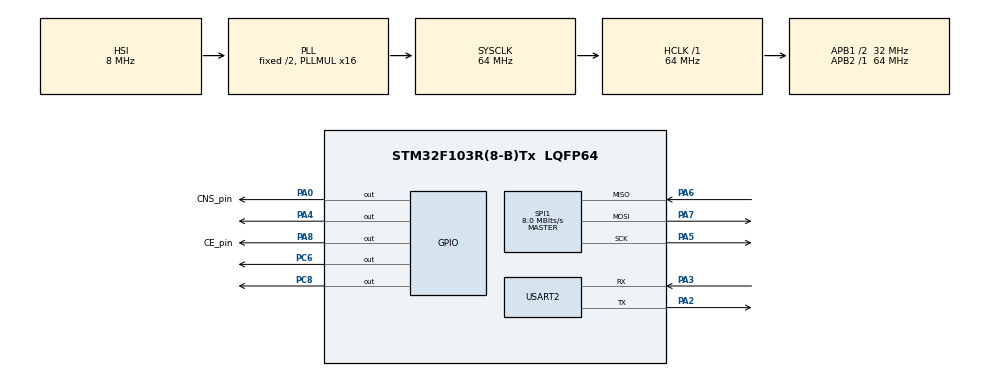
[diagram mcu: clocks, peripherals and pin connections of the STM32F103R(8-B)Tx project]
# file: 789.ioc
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Mcu.Family=STM32F1
Mcu.Name=STM32F103R(8-B)Tx
Mcu.Package=LQFP64
NVIC.PriorityGroup=NVIC_PRIORITYGROUP_4
PA0-WKUP.GPIO_Label=CNS_pin
PA0-WKUP.Signal=GPIO_Output
PA2.Mode=Asynchronous
PA2.Signal=USART2_TX
PA3.Mode=Asynchronous
PA3.Signal=USART2_RX
PA4.Signal=GPIO_Output
PA5.Mode=Full_Duplex_Master
PA5.Signal=SPI1_SCK
PA6.Mode=Full_Duplex_Master
PA6.Signal=SPI1_MISO
PA7.Mode=Full_Duplex_Master
PA7.Signal=SPI1_MOSI
PA8.GPIO_Label=CE_pin
PA8.Signal=GPIO_Output
PC6.Signal=GPIO_Output
PC8.Signal=GPIO_Output
ProjectManager.HeapSize=0x200
ProjectManager.StackSize=0x400
ProjectManager.TargetToolchain=STM32CubeIDE
RCC.AHBFreq_Value=64000000
RCC.APB1CLKDivider=RCC_HCLK_DIV2
RCC.APB1Freq_Value=32000000
RCC.APB1TimFreq_Value=64000000
RCC.APB2Freq_Value=64000000
RCC.APB2TimFreq_Value=64000000
RCC.HCLKFreq_Value=64000000
RCC.PLLMUL=RCC_PLL_MUL16
RCC.RTCClockSelection=RCC_RTCCLKSOURCE_LSE
RCC.SYSCLKFreq_VALUE=64000000
RCC.SYSCLKSource=RCC_SYSCLKSOURCE_PLLCLK
RCC.USBFreq_Value=64000000
SPI1.BaudRatePrescaler=SPI_BAUDRATEPRESCALER_8
SPI1.CalculateBaudRate=8.0 MBits/s
SPI1.Direction=SPI_DIRECTION_2LINES
SPI1.Mode=SPI_MODE_MASTER
SPI1.VirtualType=VM_MASTER
USART2.VirtualMode=VM_ASYNC
VP_SYS_VS_ND.Mode=No_Debug
board=NUCLEO-F103RB

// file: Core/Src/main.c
/* USER CODE BEGIN Header */
/**
  ******************************************************************************
  * @file           : main.c
  * @brief          : Main program body
  ******************************************************************************
  * @attention
  *
  * Copyright (c) 2025 STMicroelectronics.
  * All rights reserved.
  *
  * This software is licensed under terms that can be found in the LICENSE file
  * in the root directory of this software component.
  * If no LICENSE file comes with this software, it is provided AS-IS.
  *
  ******************************************************************************
  */
/* USER CODE END Header */
#include "main.h"
#include "spi.h"
#include "usart.h"
#include "gpio.h"

/* USER CODE BEGIN Includes */
#include "nrf24l01p.h"
#include "stdio.h"

/* USER CODE END Includes */

/* USER CODE BEGIN PV */
uint8_t tx_payload[] = "hello";
uint8_t addr[5] = {'R','x','A','A','A'};

/* USER CODE END PV */

void SystemClock_Config(void);

/* USER CODE BEGIN 0 */
// 송신 완료 비트 클리어 함수
void nrf24l01p_clear_tx_ds(void) {
    uint8_t reg = 0x70;  // STATUS 레지스터의 TX_DS 비트를 클리어
    write_register(NRF24L01P_REG_STATUS, &reg, 1);  // STATUS 레지스터를 수정
}

// 송신기 코드에서 데이터 송신 후 송신 완료 상태 확인
void EXTI0_IRQHandler(void) {
    nrf24l01p_tx_transmit(tx_payload);  // 데이터 송신

    HAL_GPIO_WritePin(GPIOC, GPIO_PIN_8, GPIO_PIN_SET);  // 송신 후 LED 켜기
    HAL_Delay(100);  // 잠시 대기

    uint8_t status = nrf24l01p_get_status();  // 상태 레지스터 읽기
    while (!(status & 0x20)) {  // 송신 완료 비트 (TX_DS)가 1일 때까지 대기
        status = nrf24l01p_get_status();  // 상태 업데이트
        HAL_Delay(10);  // 10ms 대기하여 상태를 주기적으로 확인
    }

    HAL_GPIO_WritePin(GPIOC, GPIO_PIN_8, GPIO_PIN_RESET);  // 송신 완료 후 LED 끄기
    nrf24l01p_clear_tx_ds();  // 송신 완료 비트 클리어

    HAL_GPIO_EXTI_IRQHandler(GPIO_PIN_0);  // 인터럽트 플래그 클리어
}

/* USER CODE END 0 */

int main(void)
{

  /* MCU Configuration--------------------------------------------------------*/

  /* Reset of all peripherals, Initializes the Flash interface and the Systick. */
  HAL_Init();

  /* Configure the system clock */
  SystemClock_Config();

  /* Initialize all configured peripherals */
  MX_GPIO_Init();
  MX_SPI1_Init();
  MX_USART2_UART_Init();
  /* USER CODE BEGIN 2 */
  nrf24l01p_tx_init(2, _1Mbps);  // 채널 2402MHz, 1Mbps 전송 속도

  write_register_multi(NRF24L01P_REG_TX_ADDR, addr, 5);
  write_register_multi(NRF24L01P_REG_RX_ADDR_P0, addr, 5);

  setup_interrupt();

  /* USER CODE END 2 */

  /* Infinite loop */
  while (1)
  {

  }
}
int __io_putchar(int ch)
{
    HAL_UART_Transmit(&huart2, (uint8_t*)&ch, 1, HAL_MAX_DELAY);  // UART2로 데이터 전송
    return ch;
}
void SystemClock_Config(void)
{
  RCC_OscInitTypeDef RCC_OscInitStruct = {0};
  RCC_ClkInitTypeDef RCC_ClkInitStruct = {0};

  /** Initializes the RCC Oscillators according to the specified parameters
  * in the RCC_OscInitTypeDef structure.
  */
  RCC_OscInitStruct.OscillatorType = RCC_OSCILLATORTYPE_HSI;
  RCC_OscInitStruct.HSIState = RCC_HSI_ON;
  RCC_OscInitStruct.HSICalibrationValue = RCC_HSICALIBRATION_DEFAULT;
  RCC_OscInitStruct.PLL.PLLState = RCC_PLL_ON;
  RCC_OscInitStruct.PLL.PLLSource = RCC_PLLSOURCE_HSI_DIV2;
  RCC_OscInitStruct.PLL.PLLMUL = RCC_PLL_MUL16;
  if (HAL_RCC_OscConfig(&RCC_OscInitStruct) != HAL_OK)
  {
    Error_Handler();
  }

  /** Initializes the CPU, AHB and APB buses clocks
  */
  RCC_ClkInitStruct.ClockType = RCC_CLOCKTYPE_HCLK|RCC_CLOCKTYPE_SYSCLK
                              |RCC_CLOCKTYPE_PCLK1|RCC_CLOCKTYPE_PCLK2;
  RCC_ClkInitStruct.SYSCLKSource = RCC_SYSCLKSOURCE_PLLCLK;
  RCC_ClkInitStruct.AHBCLKDivider = RCC_SYSCLK_DIV1;
  RCC_ClkInitStruct.APB1CLKDivider = RCC_HCLK_DIV2;
  RCC_ClkInitStruct.APB2CLKDivider = RCC_HCLK_DIV1;

  if (HAL_RCC_ClockConfig(&RCC_ClkInitStruct, FLASH_LATENCY_2) != HAL_OK)
  {
    Error_Handler();
  }
}

void Error_Handler(void)
{
  __disable_irq();
  while (1)
  {
  }
}
